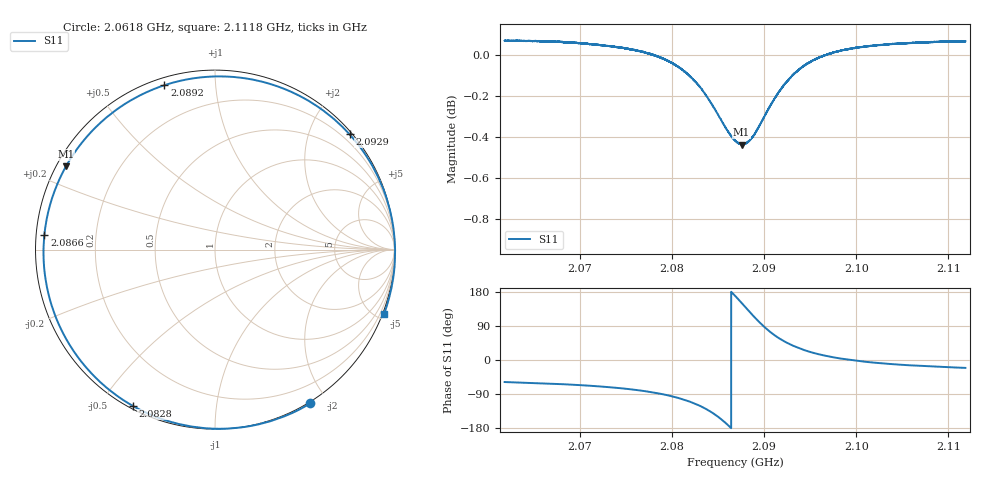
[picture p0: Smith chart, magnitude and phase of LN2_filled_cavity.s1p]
!Agilent Technologies,N5221A,MY51411109,A.09.90.13
!Agilent N5221A: A.09.90.13
!Date: Wednesday, May 04, 2022 13:03:51
!Correction: S11(Full 1 Port(1))
!S1P File: Measurement: S11:
# Hz S  RI  R 50
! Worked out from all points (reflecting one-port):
!   12801 points, 2.0618 GHz to 2.1118 GHz, reference 50 ohm
!   lowest |S11| = -0.4 dB at 2.0876 GHz (marker M1), VSWR 39.69, Z = 1.35 + j13.1 ohm
!   phase of S11 starts at -58 deg and turns -323 deg over the sweep
!   S11 on the Smith chart (normalised r, x): 2.0618 GHz: -0.02, -1.80; 2.0828 GHz: 0.01, -0.60; 2.0866 GHz: 0.02, +0.04; 2.0892 GHz: 0.03, +0.74; 2.0929 GHz: 0.05, +2.70; 2.1118 GHz: -0.11, -5.45
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2.061845e9  0.5321 -0.8559
2.068095e9  0.4444 -0.9036
2.071501e9  0.3669 -0.9364
2.074345e9  0.2719 -0.9664
2.077818e9  0.0857 -0.9963
2.080595e9  -0.1644 -0.9798
2.081767e9  -0.3117 -0.9384
2.082751e9  -0.4591 -0.87
2.083818e9  -0.6386 -0.7388
2.084763e9  -0.7982 -0.5492
2.085802e9  -0.93 -0.2384
2.08663e9  -0.9507 0.0812
2.086845e9  -0.9377 0.1708
2.08756e9  -0.8294 0.465
2.088415e9  -0.5791 0.7568
2.089189e9  -0.2824 0.9158
2.090048e9  0.0538 0.9645
2.09106e9  0.3847 0.8959
2.091931e9  0.5931 0.782
2.09288e9  0.7494 0.6425
2.093095e9  0.7769 0.6112
2.094212e9  0.8817 0.4573
2.095529e9  0.9501 0.3029
2.09733e9  0.9912 0.1382
2.099345e9  1.003 0.00266
2.102201e9  0.9965 -0.1315
2.105595e9  0.9778 -0.2381
2.111845e9  0.9418 -0.3576
